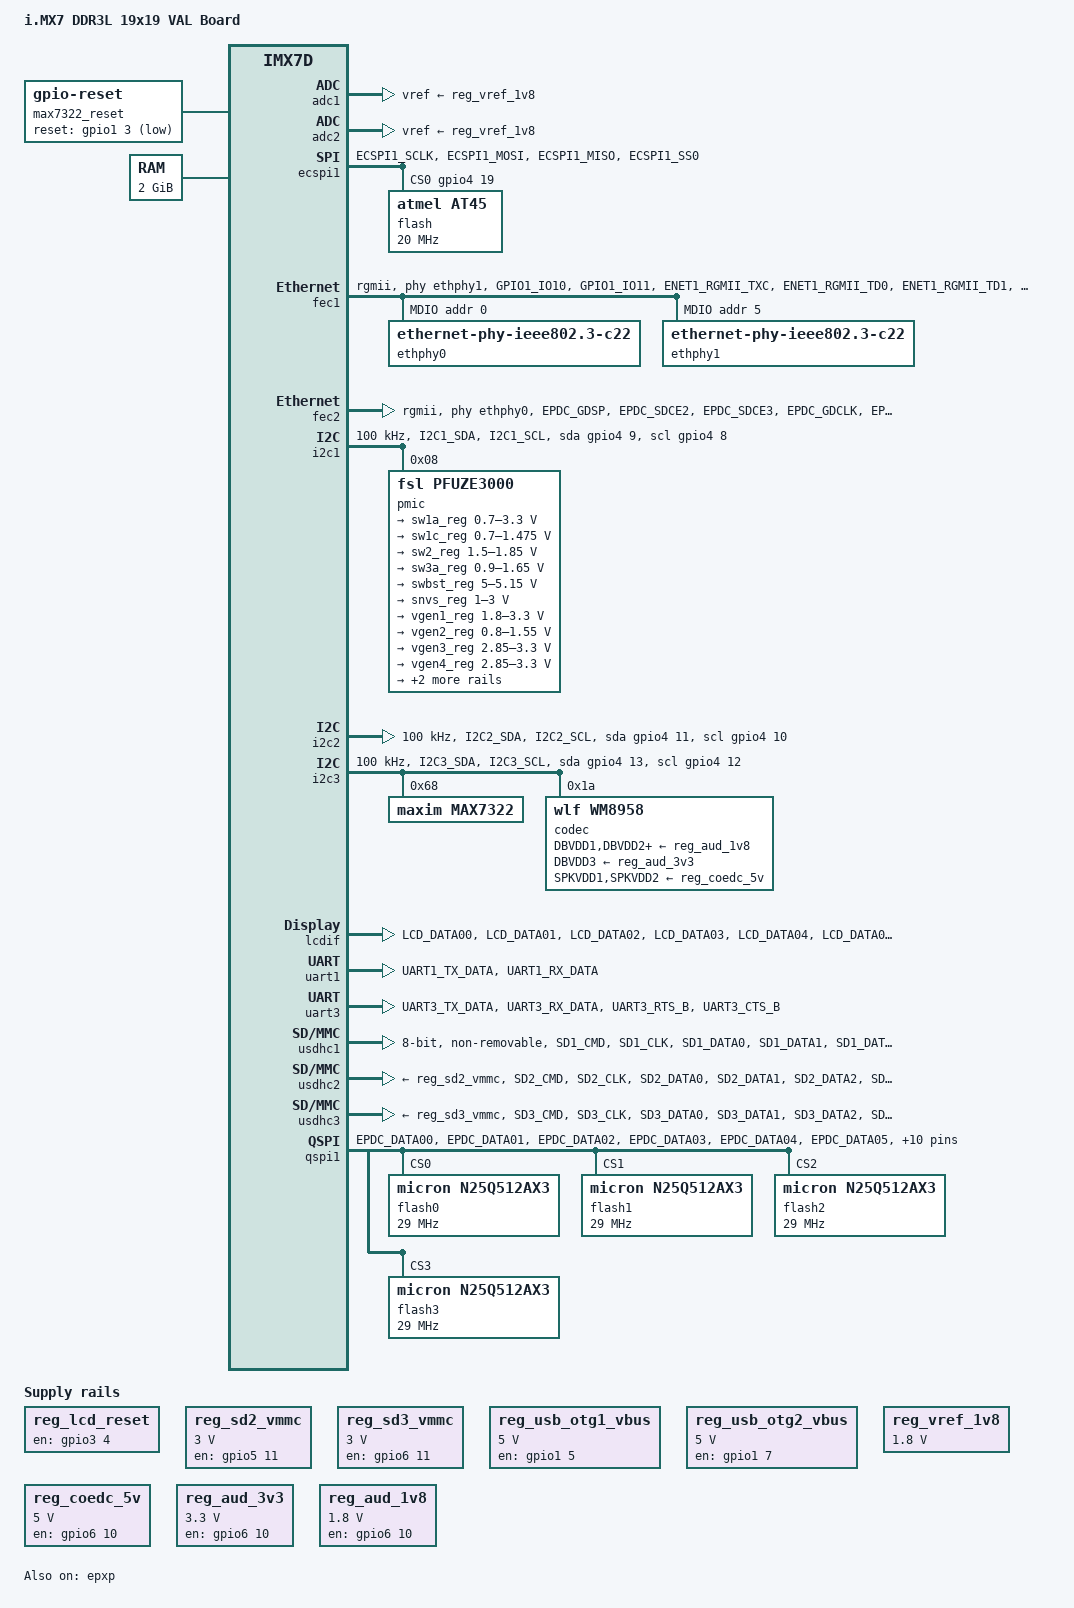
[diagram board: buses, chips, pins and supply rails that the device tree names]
/*
 * Copyright (C) 2015 Freescale Semiconductor, Inc.
 *
 * This program is free software; you can redistribute it and/or modify
 * it under the terms of the GNU General Public License version 2 as
 * published by the Free Software Foundation.
 */

/dts-v1/;

#include <dt-bindings/input/input.h>
#include "imx7d.dtsi"

/ {
	model = "i.MX7 DDR3L 19x19 VAL Board";
	compatible = "fsl,imx7d-19x19-ddr3-val", "fsl,imx7d";

	max7322_reset: max7322-reset {
		compatible = "gpio-reset";
		reset-gpios = <&gpio1 3 GPIO_ACTIVE_LOW>;
		reset-delay-us = <1>;
		#reset-cells = <0>;
	};

	gpio-keys {
		compatible = "gpio-keys";
		pinctrl-names = "default";
		pinctrl-0 = <&pinctrl_gpio_keys>;
		/* gpios disconnected see resistors R601, R583 */
		status = "disabled";

		volume-up {
			label = "Volume Up";
			gpios = <&gpio1 14 GPIO_ACTIVE_LOW>;
			linux,code = <KEY_VOLUMEUP>;
		};

		volume-down {
			label = "Volume Down";
			gpios = <&gpio1 15 GPIO_ACTIVE_LOW>;
			linux,code = <KEY_VOLUMEDOWN>;
		};
	};

	regulators {
		compatible = "simple-bus";
		#address-cells = <1>;
		#size-cells = <0>;

		reg_lcd_reset: lcd-reset {
			compatible = "regulator-fixed";
			regulator-name = "lcd-reset";
			gpio = <&gpio3 4 0>;
			enable-active-high;
		};

		reg_sd2_vmmc: sd2_vmmc{
			compatible = "regulator-fixed";
			regulator-name = "VCC_SD2";
			regulator-min-microvolt = <3000000>;
			regulator-max-microvolt = <3000000>;
			gpio = <&gpio5 11 GPIO_ACTIVE_HIGH>;
			enable-active-high;
		};

		reg_sd3_vmmc: sd3_vmmc {
			compatible = "regulator-fixed";
			regulator-name = "VCC_SD3";
			regulator-min-microvolt = <3000000>;
			regulator-max-microvolt = <3000000>;
			gpio = <&gpio6 11 GPIO_ACTIVE_HIGH>;
			enable-active-high;
		};

		reg_usb_otg1_vbus: regulator@0 {
			compatible = "regulator-fixed";
			reg = <0>;
			regulator-name = "usb_otg1_vbus";
			regulator-min-microvolt = <5000000>;
			regulator-max-microvolt = <5000000>;
			gpio = <&gpio1 5 GPIO_ACTIVE_HIGH>;
			enable-active-high;
		};

		reg_usb_otg2_vbus: regulator@1 {
			compatible = "regulator-fixed";
			reg = <1>;
			regulator-name = "usb_otg2_vbus";
			regulator-min-microvolt = <5000000>;
			regulator-max-microvolt = <5000000>;
			gpio = <&gpio1 7 GPIO_ACTIVE_HIGH>;
			enable-active-high;
		};

		reg_vref_1v8: regulator@2 {
			compatible = "regulator-fixed";
			regulator-name = "vref-1v8";
			regulator-min-microvolt = <1800000>;
			regulator-max-microvolt = <1800000>;
		};

		reg_coedc_5v: coedc_5v {
			compatible = "regulator-fixed";
			regulator-name = "CODEC_5V";
			regulator-min-microvolt = <5000000>;
			regulator-max-microvolt = <5000000>;
			gpio = <&gpio6 10 GPIO_ACTIVE_HIGH>;
			enable-active-high;
		};

		reg_aud_3v3: aud_3v3 {
			compatible = "regulator-fixed";
			regulator-name = "AUD_3V3";
			regulator-min-microvolt = <3300000>;
			regulator-max-microvolt = <3300000>;
			gpio = <&gpio6 10 GPIO_ACTIVE_HIGH>;
			enable-active-high;
		};

		reg_aud_1v8: aud_1v8 {
			compatible = "regulator-fixed";
			regulator-name = "AUD_1V8";
			regulator-min-microvolt = <1800000>;
			regulator-max-microvolt = <1800000>;
			gpio = <&gpio6 10 GPIO_ACTIVE_HIGH>;
			enable-active-high;
		};
	};

	pxp_v4l2_out {
		compatible = "fsl,imx7d-pxp-v4l2", "fsl,imx6sx-pxp-v4l2", "fsl,imx6sl-pxp-v4l2";
		status = "okay";
	};

	memory {
		reg = <0x80000000 0x80000000>;
	};
};

&adc1 {
	vref-supply = <&reg_vref_1v8>;
	status = "okay";
};

&adc2 {
	vref-supply = <&reg_vref_1v8>;
	status = "okay";
};

&cpu0 {
	cpu-supply = <&sw1a_reg>;
};

&ecspi1 {
	    fsl,spi-num-chipselects = <1>;
		cs-gpios = <&gpio4 19 0>;
		pinctrl-names = "default";
		pinctrl-0 = <&pinctrl_ecspi1_1 &pinctrl_ecspi1_cs_1>;
		status = "okay";

	    flash: at45@0 {
	        #address-cells = <1>;
	        #size-cells = <1>;
	        compatible = "atmel,at45", "jedec,spi-nor";
	        spi-max-frequency = <20000000>;
	        reg = <0>;
	    };
};

&epxp {
        status = "okay";
};

&fec1 {
	pinctrl-names = "default";
	pinctrl-0 = <&pinctrl_enet1>;
	pinctrl-assert-gpios = <&max7322 0 GPIO_ACTIVE_HIGH>;
	assigned-clocks = <&clks IMX7D_ENET1_TIME_ROOT_SRC>,
			  <&clks IMX7D_ENET1_TIME_ROOT_CLK>;
	assigned-clock-parents = <&clks IMX7D_PLL_ENET_MAIN_100M_CLK>;
	assigned-clock-rates = <0>, <100000000>;
	phy-mode = "rgmii";
	phy-handle = <&ethphy1>;
	fsl,magic-packet;
	status = "okay";

	mdio {
		#address-cells = <1>;
		#size-cells = <0>;

		ethphy0: ethernet-phy@0 {
			compatible = "ethernet-phy-ieee802.3-c22";
			reg = <0>;
		};

		ethphy1: ethernet-phy@5 {
			compatible = "ethernet-phy-ieee802.3-c22";
			reg = <5>;
		};
	};
};

&fec2 {
	pinctrl-names = "default";
	pinctrl-0 = <&pinctrl_enet2>;
	pinctrl-assert-gpios = <&max7322 0 GPIO_ACTIVE_HIGH>;
	assigned-clocks = <&clks IMX7D_ENET2_TIME_ROOT_SRC>,
			  <&clks IMX7D_ENET2_TIME_ROOT_CLK>;
	assigned-clock-parents = <&clks IMX7D_PLL_ENET_MAIN_100M_CLK>;
	assigned-clock-rates = <0>, <100000000>;
	phy-mode = "rgmii";
	phy-handle = <&ethphy0>;
	fsl,magic-packet;
	status = "okay";
};

&i2c1 {
	clock-frequency = <100000>;
	pinctrl-names = "default", "gpio";
	pinctrl-0 = <&pinctrl_i2c1_1>;
	pinctrl-1 = <&pinctrl_i2c1_1_gpio>;
	scl-gpios = <&gpio4 8 GPIO_ACTIVE_HIGH>;
	sda-gpios = <&gpio4 9 GPIO_ACTIVE_HIGH>;
	status = "okay";

	pmic: pfuze3000@8 {
		compatible = "fsl,pfuze3000";
		reg = <0x08>;

		regulators {
			sw1a_reg: sw1a {
				regulator-min-microvolt = <700000>;
				regulator-max-microvolt = <3300000>;
				regulator-boot-on;
				regulator-always-on;
				regulator-ramp-delay = <6250>;
			};
			/* use sw1c_reg to align with pfuze100/pfuze200 */
			sw1c_reg: sw1b {
				regulator-min-microvolt = <700000>;
				regulator-max-microvolt = <1475000>;
				regulator-boot-on;
				regulator-always-on;
				regulator-ramp-delay = <6250>;
			};

			sw2_reg: sw2 {
				regulator-min-microvolt = <1500000>;
				regulator-max-microvolt = <1850000>;
				regulator-boot-on;
				regulator-always-on;
			};

			sw3a_reg: sw3 {
				regulator-min-microvolt = <900000>;
				regulator-max-microvolt = <1650000>;
				regulator-boot-on;
				regulator-always-on;
			};

			swbst_reg: swbst {
				regulator-min-microvolt = <5000000>;
				regulator-max-microvolt = <5150000>;
			};

			snvs_reg: vsnvs {
				regulator-min-microvolt = <1000000>;
				regulator-max-microvolt = <3000000>;
				regulator-boot-on;
				regulator-always-on;
			};

			vref_reg: vrefddr {
				regulator-boot-on;
				regulator-always-on;
			};

			vgen1_reg: vldo1 {
				regulator-min-microvolt = <1800000>;
				regulator-max-microvolt = <3300000>;
				regulator-always-on;
			};

			vgen2_reg: vldo2 {
				regulator-min-microvolt = <800000>;
				regulator-max-microvolt = <1550000>;
			};

			vgen3_reg: vccsd {
				regulator-min-microvolt = <2850000>;
				regulator-max-microvolt = <3300000>;
				regulator-always-on;
			};

			vgen4_reg: v33 {
				regulator-min-microvolt = <2850000>;
				regulator-max-microvolt = <3300000>;
				regulator-always-on;
			};

			vgen5_reg: vldo3 {
				regulator-min-microvolt = <1800000>;
				regulator-max-microvolt = <3300000>;
				regulator-always-on;
			};

			vgen6_reg: vldo4 {
				regulator-min-microvolt = <1800000>;
				regulator-max-microvolt = <3300000>;
				regulator-always-on;
			};
		};
	};
};

&i2c2 {
	clock-frequency = <100000>;
	pinctrl-names = "default", "gpio";
	pinctrl-0 = <&pinctrl_i2c2_1>;
	pinctrl-1 = <&pinctrl_i2c2_1_gpio>;
	scl-gpios = <&gpio4 10 GPIO_ACTIVE_HIGH>;
	sda-gpios = <&gpio4 11 GPIO_ACTIVE_HIGH>;
	status = "okay";
};

&i2c3 {
	clock-frequency = <100000>;
	pinctrl-names = "default", "gpio";
	pinctrl-0 = <&pinctrl_i2c3_1>;
	pinctrl-1 = <&pinctrl_i2c3_1_gpio>;
	scl-gpios = <&gpio4 12 GPIO_ACTIVE_HIGH>;
	sda-gpios = <&gpio4 13 GPIO_ACTIVE_HIGH>;
	status = "okay";

	max7322: gpio@68 {
		compatible = "maxim,max7322";
		reg = <0x68>;
		gpio-controller;
		#gpio-cells = <2>;
		resets = <&max7322_reset>;
	};
	codec: wm8958@1a {
		compatible = "wlf,wm8958";
		reg = <0x1a>;
		clocks = <&clks IMX7D_AUDIO_MCLK_ROOT_CLK>,
		       <&clks IMX7D_CLK_DUMMY>;
		clock-names = "mclk1", "mclk2";

		DBVDD1-supply = <&reg_aud_1v8>;
		DBVDD2-supply = <&reg_aud_1v8>;
		DBVDD3-supply = <&reg_aud_3v3>;
		AVDD2-supply = <&reg_aud_1v8>;
		CPVDD-supply = <&reg_aud_1v8>;
		SPKVDD1-supply = <&reg_coedc_5v>;
		SPKVDD2-supply = <&reg_coedc_5v>;

		wlf,ldo1ena;
		wlf,ldo2ena;
	};
};

&iomuxc {
	pinctrl-names = "default";
	pinctrl-0 = <&pinctrl_hog_1 &pinctrl_hog_sd3_vselect>;

	imx7d-19x19-ddr3-val {
		pinctrl_hog_1: hoggrp-1 {
			fsl,pins = <
				MX7D_PAD_GPIO1_IO12__SD2_VSELECT   0x59
				MX7D_PAD_SD2_CD_B__GPIO5_IO9       0x59
				MX7D_PAD_SD2_WP__GPIO5_IO10        0x59
				MX7D_PAD_SD2_RESET_B__GPIO5_IO11   0x59
				MX7D_PAD_SD3_RESET_B__GPIO6_IO11   0x59
				MX7D_PAD_GPIO1_IO14__GPIO1_IO14    0x59
				MX7D_PAD_GPIO1_IO15__GPIO1_IO15    0x59
				MX7D_PAD_SD3_STROBE__GPIO6_IO10    0x59

				MX7D_PAD_I2C4_SCL__GPIO4_IO14	  0x7F
				MX7D_PAD_I2C4_SDA__GPIO4_IO15     0x7F
			>;
		};

		pinctrl_hog_sd3_vselect: hoggrp_sd3vselect {
			fsl,pins = <
				MX7D_PAD_GPIO1_IO13__SD3_VSELECT   0x59
			>;
		};

		pinctrl_csi: csigrp-1 {
			fsl,pins = <
				MX7D_PAD_LCD_DATA04__CSI_VSYNC 	0x0F
				MX7D_PAD_LCD_DATA05__CSI_HSYNC 	0x0F
				MX7D_PAD_LCD_DATA06__CSI_PIXCLK 0x0F
				MX7D_PAD_LCD_DATA07__CSI_MCLK 	0x0F
				MX7D_PAD_LCD_DATA08__CSI_DATA9 	0x0F
				MX7D_PAD_LCD_DATA09__CSI_DATA8 	0x0F
				MX7D_PAD_LCD_DATA10__CSI_DATA7 	0x0F
				MX7D_PAD_LCD_DATA11__CSI_DATA6 	0x0F
				MX7D_PAD_LCD_DATA12__CSI_DATA5 	0x0F
				MX7D_PAD_LCD_DATA13__CSI_DATA4 	0x0F
				MX7D_PAD_LCD_DATA14__CSI_DATA3 	0x0F
				MX7D_PAD_LCD_DATA15__CSI_DATA2 	0x0F
				MX7D_PAD_LCD_DATA02__GPIO3_IO7 	0x0F
				MX7D_PAD_LCD_DATA03__GPIO3_IO8 	0x0F
			>;
		};

		pinctrl_ecspi1_cs_1: ecspi1_cs_grp-1 {
			fsl,pins = <
				MX7D_PAD_ECSPI1_SS0__GPIO4_IO19 	0x2
			>;
		};

		pinctrl_ecspi1_1: ecspi1grp-1 {
			fsl,pins = <
				MX7D_PAD_ECSPI1_SCLK__ECSPI1_SCLK 	0x2
				MX7D_PAD_ECSPI1_MOSI__ECSPI1_MOSI 	0x2
				MX7D_PAD_ECSPI1_MISO__ECSPI1_MISO 	0x2
			>;
		};

		pinctrl_enet1: enet1grp {
			fsl,pins = <
				MX7D_PAD_GPIO1_IO10__ENET1_MDIO 0x3
				MX7D_PAD_GPIO1_IO11__ENET1_MDC  0x3
				MX7D_PAD_ENET1_RGMII_TXC__ENET1_RGMII_TXC 0x1
				MX7D_PAD_ENET1_RGMII_TD0__ENET1_RGMII_TD0 0x1
				MX7D_PAD_ENET1_RGMII_TD1__ENET1_RGMII_TD1 0x1
				MX7D_PAD_ENET1_RGMII_TD2__ENET1_RGMII_TD2 0x1
				MX7D_PAD_ENET1_RGMII_TD3__ENET1_RGMII_TD3 0x1
				MX7D_PAD_ENET1_RGMII_TX_CTL__ENET1_RGMII_TX_CTL 0x1
				MX7D_PAD_ENET1_RGMII_RXC__ENET1_RGMII_RXC 0x1
				MX7D_PAD_ENET1_RGMII_RD0__ENET1_RGMII_RD0 0x1
				MX7D_PAD_ENET1_RGMII_RD1__ENET1_RGMII_RD1 0x1
				MX7D_PAD_ENET1_RGMII_RD2__ENET1_RGMII_RD2 0x1
				MX7D_PAD_ENET1_RGMII_RD3__ENET1_RGMII_RD3 0x1
				MX7D_PAD_ENET1_RGMII_RX_CTL__ENET1_RGMII_RX_CTL 0x1
			>;
		};

		pinctrl_enet2: enet2grp {
			fsl,pins = <
				MX7D_PAD_EPDC_GDSP__ENET2_RGMII_TXC	0x1
				MX7D_PAD_EPDC_SDCE2__ENET2_RGMII_TD0	0x1
				MX7D_PAD_EPDC_SDCE3__ENET2_RGMII_TD1	0x1
				MX7D_PAD_EPDC_GDCLK__ENET2_RGMII_TD2	0x1
				MX7D_PAD_EPDC_GDOE__ENET2_RGMII_TD3	0x1
				MX7D_PAD_EPDC_GDRL__ENET2_RGMII_TX_CTL	0x1
				MX7D_PAD_EPDC_SDCE1__ENET2_RGMII_RXC	0x1
				MX7D_PAD_EPDC_SDCLK__ENET2_RGMII_RD0	0x1
				MX7D_PAD_EPDC_SDLE__ENET2_RGMII_RD1	0x1
				MX7D_PAD_EPDC_SDOE__ENET2_RGMII_RD2	0x1
				MX7D_PAD_EPDC_SDSHR__ENET2_RGMII_RD3	0x1
				MX7D_PAD_EPDC_SDCE0__ENET2_RGMII_RX_CTL	0x1
			>;
		};

		pinctrl_gpio_keys: gpio_keysgrp {
			fsl,pins = <
				MX7D_PAD_GPIO1_IO14__GPIO1_IO14 0x32
				MX7D_PAD_GPIO1_IO15__GPIO1_IO15 0x32
			>;
		};

		pinctrl_i2c1_1: i2c1grp-1 {
			fsl,pins = <
				MX7D_PAD_I2C1_SDA__I2C1_SDA          0x4000007f
				MX7D_PAD_I2C1_SCL__I2C1_SCL          0x4000007f
			>;
		};

		pinctrl_i2c1_1_gpio: i2c1grp-1-gpio {
			fsl,pins = <
				MX7D_PAD_I2C1_SDA__GPIO4_IO9          0x7f
				MX7D_PAD_I2C1_SCL__GPIO4_IO8          0x7f
			>;
		};

		pinctrl_i2c2_1: i2c2grp-1 {
			fsl,pins = <
				MX7D_PAD_I2C2_SDA__I2C2_SDA          0x4000007f
				MX7D_PAD_I2C2_SCL__I2C2_SCL          0x4000007f
			>;
		};

		pinctrl_i2c2_1_gpio: i2c2grp-1-gpio {
			fsl,pins = <
				MX7D_PAD_I2C2_SDA__GPIO4_IO11          0x7f
				MX7D_PAD_I2C2_SCL__GPIO4_IO10          0x7f
			>;
		};

		pinctrl_i2c3_1: i2c3grp-1 {
			fsl,pins = <
				MX7D_PAD_I2C3_SDA__I2C3_SDA	     0x4000007f
				MX7D_PAD_I2C3_SCL__I2C3_SCL          0x4000007f
			>;
		};

		pinctrl_i2c3_1_gpio: i2c3grp-1-gpio {
			fsl,pins = <
				MX7D_PAD_I2C3_SDA__GPIO4_IO13          0x7f
				MX7D_PAD_I2C3_SCL__GPIO4_IO12          0x7f
			>;
		};

		pinctrl_i2c4_1: i2c4grp-1 {
			fsl,pins = <
				MX7D_PAD_I2C4_SDA__I2C4_SDA          0x4000007f
				MX7D_PAD_I2C4_SCL__I2C4_SCL          0x4000007f
			>;
		};

		pinctrl_lcdif_dat: lcdifdatgrp {
			fsl,pins = <
				MX7D_PAD_LCD_DATA00__LCD_DATA0	0x79
				MX7D_PAD_LCD_DATA01__LCD_DATA1	0x79
				MX7D_PAD_LCD_DATA02__LCD_DATA2	0x79
				MX7D_PAD_LCD_DATA03__LCD_DATA3	0x79
				MX7D_PAD_LCD_DATA04__LCD_DATA4	0x79
				MX7D_PAD_LCD_DATA05__LCD_DATA5	0x79
				MX7D_PAD_LCD_DATA06__LCD_DATA6	0x79
				MX7D_PAD_LCD_DATA07__LCD_DATA7	0x79
				MX7D_PAD_LCD_DATA08__LCD_DATA8	0x79
				MX7D_PAD_LCD_DATA09__LCD_DATA9	0x79
				MX7D_PAD_LCD_DATA10__LCD_DATA10	0x79
				MX7D_PAD_LCD_DATA11__LCD_DATA11	0x79
				MX7D_PAD_LCD_DATA12__LCD_DATA12	0x79
				MX7D_PAD_LCD_DATA13__LCD_DATA13	0x79
				MX7D_PAD_LCD_DATA14__LCD_DATA14	0x79
				MX7D_PAD_LCD_DATA15__LCD_DATA15	0x79
				MX7D_PAD_LCD_DATA16__LCD_DATA16	0x79
				MX7D_PAD_LCD_DATA17__LCD_DATA17	0x79
				MX7D_PAD_LCD_DATA18__LCD_DATA18	0x79
				MX7D_PAD_LCD_DATA19__LCD_DATA19	0x79
				MX7D_PAD_LCD_DATA20__LCD_DATA20	0x79
				MX7D_PAD_LCD_DATA21__LCD_DATA21	0x79
				MX7D_PAD_LCD_DATA22__LCD_DATA22	0x79
				MX7D_PAD_LCD_DATA23__LCD_DATA23	0x79
			>;
		};

		pinctrl_lcdif_ctrl: lcdifctrlgrp {
			fsl,pins = <
				MX7D_PAD_LCD_CLK__LCD_CLK	0x79
				MX7D_PAD_LCD_ENABLE__LCD_ENABLE	0x79
				MX7D_PAD_LCD_VSYNC__LCD_VSYNC	0x79
				MX7D_PAD_LCD_HSYNC__LCD_HSYNC	0x79
			>;
		};

		pinctrl_sai1: sai1grp {
			fsl,pins = <
				MX7D_PAD_SAI1_MCLK__SAI1_MCLK           0x1f
				MX7D_PAD_SAI1_TX_BCLK__SAI1_TX_BCLK     0x1f
				MX7D_PAD_SAI1_TX_SYNC__SAI1_TX_SYNC     0x1f
				MX7D_PAD_SAI1_RX_SYNC__SAI1_RX_SYNC     0x1f
				MX7D_PAD_SAI1_RX_DATA__SAI1_RX_DATA0    0x1f
				MX7D_PAD_SAI1_TX_DATA__SAI1_TX_DATA0    0
			>;
		};

		pinctrl_sai2: sai2grp {
			fsl,pins = <
				MX7D_PAD_SAI1_MCLK__SAI1_MCLK           0x1f
				MX7D_PAD_SAI2_TX_BCLK__SAI2_TX_BCLK     0x1f
				MX7D_PAD_SAI2_TX_SYNC__SAI2_TX_SYNC     0x1f
				MX7D_PAD_SAI2_RX_DATA__SAI2_RX_DATA0    0x1f
				MX7D_PAD_SAI2_TX_DATA__SAI2_TX_DATA0    0
				MX7D_PAD_GPIO1_IO13__GPIO1_IO13		0x59
			>;
		};

		pinctrl_uart1_1: uart1grp-1 {
			fsl,pins = <
				MX7D_PAD_UART1_TX_DATA__UART1_DCE_TX 0x79
				MX7D_PAD_UART1_RX_DATA__UART1_DCE_RX 0x79
			>;
		};

		pinctrl_uart3_1: uart3grp-1 {
			fsl,pins = <
				MX7D_PAD_UART3_TX_DATA__UART3_DCE_TX	0x79
				MX7D_PAD_UART3_RX_DATA__UART3_DCE_RX	0x79
				MX7D_PAD_UART3_CTS_B__UART3_DCE_CTS	0x79
				MX7D_PAD_UART3_RTS_B__UART3_DCE_RTS	0x79
			>;
		};

		pinctrl_uart3dte_1: uart3dtegrp-1 {
			fsl,pins = <
				MX7D_PAD_UART3_TX_DATA__UART3_DTE_RX	0x79
				MX7D_PAD_UART3_RX_DATA__UART3_DTE_TX	0x79
				MX7D_PAD_UART3_RTS_B__UART3_DTE_CTS	0x79
				MX7D_PAD_UART3_CTS_B__UART3_DTE_RTS	0x79
			>;
		};

		pinctrl_usdhc1: usdhc1grp {
			fsl,pins = <
				MX7D_PAD_SD1_CMD__SD1_CMD       0x59
				MX7D_PAD_SD1_CLK__SD1_CLK       0x19
				MX7D_PAD_SD1_DATA0__SD1_DATA0   0x59
				MX7D_PAD_SD1_DATA1__SD1_DATA1   0x59
				MX7D_PAD_SD1_DATA2__SD1_DATA2   0x59
				MX7D_PAD_SD1_DATA3__SD1_DATA3   0x59
				MX7D_PAD_ECSPI2_SCLK__SD1_DATA4 0x59
				MX7D_PAD_ECSPI2_MOSI__SD1_DATA5 0x59
				MX7D_PAD_ECSPI2_MISO__SD1_DATA6 0x59
				MX7D_PAD_ECSPI2_SS0__SD1_DATA7  0x59
			>;
		};

		pinctrl_usdhc2: usdhc2grp {
			fsl,pins = <
				MX7D_PAD_SD2_CMD__SD2_CMD     0x59
				MX7D_PAD_SD2_CLK__SD2_CLK     0x19
				MX7D_PAD_SD2_DATA0__SD2_DATA0 0x59
				MX7D_PAD_SD2_DATA1__SD2_DATA1 0x59
				MX7D_PAD_SD2_DATA2__SD2_DATA2 0x59
				MX7D_PAD_SD2_DATA3__SD2_DATA3 0x59
			>;
		};

		pinctrl_usdhc2_100mhz: usdhc2grp_100mhz {
			fsl,pins = <
				MX7D_PAD_SD2_CMD__SD2_CMD     0x5a
				MX7D_PAD_SD2_CLK__SD2_CLK     0x1a
				MX7D_PAD_SD2_DATA0__SD2_DATA0 0x5a
				MX7D_PAD_SD2_DATA1__SD2_DATA1 0x5a
				MX7D_PAD_SD2_DATA2__SD2_DATA2 0x5a
				MX7D_PAD_SD2_DATA3__SD2_DATA3 0x5a
			>;
		};

		pinctrl_usdhc2_200mhz: usdhc2grp_200mhz {
			fsl,pins = <
				MX7D_PAD_SD2_CMD__SD2_CMD     0x5b
				MX7D_PAD_SD2_CLK__SD2_CLK     0x1b
				MX7D_PAD_SD2_DATA0__SD2_DATA0 0x5b
				MX7D_PAD_SD2_DATA1__SD2_DATA1 0x5b
				MX7D_PAD_SD2_DATA2__SD2_DATA2 0x5b
				MX7D_PAD_SD2_DATA3__SD2_DATA3 0x5b
			>;
		};

		pinctrl_usdhc3: usdhc3grp {
			fsl,pins = <
				MX7D_PAD_SD3_CMD__SD3_CMD     0x59
				MX7D_PAD_SD3_CLK__SD3_CLK     0x19
				MX7D_PAD_SD3_DATA0__SD3_DATA0 0x59
				MX7D_PAD_SD3_DATA1__SD3_DATA1 0x59
				MX7D_PAD_SD3_DATA2__SD3_DATA2 0x59
				MX7D_PAD_SD3_DATA3__SD3_DATA3 0x59
				MX7D_PAD_SD3_DATA4__SD3_DATA4 0x59
				MX7D_PAD_SD3_DATA5__SD3_DATA5 0x59
				MX7D_PAD_SD3_DATA6__SD3_DATA6 0x59
				MX7D_PAD_SD3_DATA7__SD3_DATA7 0x59
			>;
		};

		pinctrl_usdhc3_100mhz: usdhc3grp_100mhz {
			fsl,pins = <
				MX7D_PAD_SD3_CMD__SD3_CMD     0x5a
				MX7D_PAD_SD3_CLK__SD3_CLK     0x1a
				MX7D_PAD_SD3_DATA0__SD3_DATA0 0x5a
				MX7D_PAD_SD3_DATA1__SD3_DATA1 0x5a
				MX7D_PAD_SD3_DATA2__SD3_DATA2 0x5a
				MX7D_PAD_SD3_DATA3__SD3_DATA3 0x5a
				MX7D_PAD_SD3_DATA4__SD3_DATA4 0x5a
				MX7D_PAD_SD3_DATA5__SD3_DATA5 0x5a
				MX7D_PAD_SD3_DATA6__SD3_DATA6 0x5a
				MX7D_PAD_SD3_DATA7__SD3_DATA7 0x5a
			>;
		};

		pinctrl_usdhc3_200mhz: usdhc3grp_200mhz {
			fsl,pins = <
				MX7D_PAD_SD3_CMD__SD3_CMD     0x5b
				MX7D_PAD_SD3_CLK__SD3_CLK     0x1b
				MX7D_PAD_SD3_DATA0__SD3_DATA0 0x5b
				MX7D_PAD_SD3_DATA1__SD3_DATA1 0x5b
				MX7D_PAD_SD3_DATA2__SD3_DATA2 0x5b
				MX7D_PAD_SD3_DATA3__SD3_DATA3 0x5b
				MX7D_PAD_SD3_DATA4__SD3_DATA4 0x5b
				MX7D_PAD_SD3_DATA5__SD3_DATA5 0x5b
				MX7D_PAD_SD3_DATA6__SD3_DATA6 0x5b
				MX7D_PAD_SD3_DATA7__SD3_DATA7 0x5b
			>;
		};
		
		pinctrl_qspi1_1: qspi1grp_1 {
			fsl,pins = <
				MX7D_PAD_EPDC_DATA00__QSPI_A_DATA0 0x51
				MX7D_PAD_EPDC_DATA01__QSPI_A_DATA1 0x51
				MX7D_PAD_EPDC_DATA02__QSPI_A_DATA2 0x51
				MX7D_PAD_EPDC_DATA03__QSPI_A_DATA3 0x51
				MX7D_PAD_EPDC_DATA04__QSPI_A_DQS 0x51
				MX7D_PAD_EPDC_DATA05__QSPI_A_SCLK 0x51
				MX7D_PAD_EPDC_DATA06__QSPI_A_SS0_B 0x51
				MX7D_PAD_EPDC_DATA07__QSPI_A_SS1_B 0x51
				MX7D_PAD_EPDC_DATA08__QSPI_B_DATA0 0x51
				MX7D_PAD_EPDC_DATA09__QSPI_B_DATA1 0x51
				MX7D_PAD_EPDC_DATA10__QSPI_B_DATA2 0x51
				MX7D_PAD_EPDC_DATA11__QSPI_B_DATA3 0x51
				MX7D_PAD_EPDC_DATA12__QSPI_B_DQS 0x51
				MX7D_PAD_EPDC_DATA13__QSPI_B_SCLK 0x51
				MX7D_PAD_EPDC_DATA14__QSPI_B_SS0_B 0x51
				MX7D_PAD_EPDC_DATA15__QSPI_B_SS1_B 0x51
			>;
		};
	};
};

&iomuxc_lpsr {
	pinctrl-names = "default";
	pinctrl-0 = <&pinctrl_hog_2>;

	imx7d-19x19-ddr3-val {
		pinctrl_hog_2: hoggrp-2 {
			fsl,pins = <
				MX7D_PAD_LPSR_GPIO1_IO03__GPIO1_IO3 0x80000000
				MX7D_PAD_LPSR_GPIO1_IO07__GPIO1_IO7 0x80000000
			>;
		};

		pinctrl_mipi_csi: mipicsigrp-1 {
			fsl,pins = <
				MX7D_PAD_LPSR_GPIO1_IO01__ANATOP_24M_OUT 0x3
			>;
		};
	};
};

&lcdif {
	pinctrl-names = "default";
	pinctrl-0 = <&pinctrl_lcdif_dat
		     &pinctrl_lcdif_ctrl>;
	display = <&display0>;
	status = "okay";

	display0: display {
		bits-per-pixel = <16>;
		bus-width = <24>;

		display-timings {
			native-mode = <&timing0>;
			timing0: timing0 {
				clock-frequency = <33500000>;
				hactive = <800>;
				vactive = <480>;
				hback-porch = <89>;
				hfront-porch = <164>;
				vback-porch = <23>;
				vfront-porch = <10>;
				hsync-len = <10>;
				vsync-len = <10>;
				hsync-active = <0>;
				vsync-active = <0>;
				de-active = <1>;
				pixelclk-active = <0>;
			};
		};
	};
};

&sai1 {
	pinctrl-names = "default";
	pinctrl-0 = <&pinctrl_sai1>;
	status = "disabled";
};

&sai2 {
	pinctrl-names = "default";
	pinctrl-0 = <&pinctrl_sai2>;
	status = "disabled";
};

&sdma {
	status = "okay";
};

&uart1 {
	pinctrl-names = "default";
	pinctrl-0 = <&pinctrl_uart1_1>;
	assigned-clocks = <&clks IMX7D_UART1_ROOT_SRC>;
	assigned-clock-parents = <&clks IMX7D_OSC_24M_CLK>;
	status = "okay";
};

&uart3 {
	pinctrl-names = "default";
	pinctrl-0 = <&pinctrl_uart3_1>;
	fsl,uart-has-rtscts;
	assigned-clocks = <&clks IMX7D_UART3_ROOT_SRC>;
	assigned-clock-parents = <&clks IMX7D_PLL_SYS_MAIN_240M_CLK>;
	status = "okay";
	/* for DTE mode, add below change */
	/* fsl,dte-mode;*/
	pinctrl-0 = <&pinctrl_uart3dte_1>;
};

&usdhc1 {
	pinctrl-names = "default";
	pinctrl-0 = <&pinctrl_usdhc1>;
	bus-width = <8>;
	non-removable;
	status = "okay";
};

&usdhc2 {
	pinctrl-names = "default", "state_100mhz", "state_200mhz";
	pinctrl-0 = <&pinctrl_usdhc2>;
	pinctrl-1 = <&pinctrl_usdhc2_100mhz>;
	pinctrl-2 = <&pinctrl_usdhc2_200mhz>;
	cd-gpios = <&gpio5 9 GPIO_ACTIVE_LOW>;
	wp-gpios = <&gpio5 10 GPIO_ACTIVE_HIGH>;
	keep-power-in-suspend;
	enable-sdio-wakeup;
	tuning-step = <2>;
	vmmc-supply = <&reg_sd2_vmmc>;
	status = "okay";
};

&usdhc3 {
	pinctrl-names = "default", "state_100mhz", "state_200mhz";
	pinctrl-0 = <&pinctrl_usdhc3>;
	pinctrl-1 = <&pinctrl_usdhc3_100mhz>;
	pinctrl-2 = <&pinctrl_usdhc3_200mhz>;
	cd-gpios = <&gpio1 14 GPIO_ACTIVE_LOW>;
	wp-gpios = <&gpio1 15 GPIO_ACTIVE_HIGH>;
	keep-power-in-suspend;
	enable-sdio-wakeup;
	tuning-step = <2>;
	vmmc-supply = <&reg_sd3_vmmc>;
	status = "okay";
};

&qspi1 {
	pinctrl-names = "default", "sleep";
	pinctrl-0 = <&pinctrl_qspi1_1>;
	pinctrl-1 = <&pinctrl_qspi1_1>;
	status = "okay";
	fsl,qspi-has-second-chip = <1>;
	ddrsmp=<0>;

	flash0: n25q512ax3@0 {
		#address-cells = <1>;
		#size-cells = <1>;
		compatible = "micron,n25q512ax3", "jedec,spi-nor";
		spi-max-frequency = <29000000>;
		spi-nor,ddr-quad-read-dummy = <6>;
		reg = <0>;
	};

	flash1: n25q512ax3@1 {
		#address-cells = <1>;
		#size-cells = <1>;
		compatible = "micron,n25q512ax3", "jedec,spi-nor";
		spi-max-frequency = <29000000>;
		spi-nor,ddr-quad-read-dummy = <6>;
		reg = <1>;
	};

	flash2: n25q512ax3@2 {
		#address-cells = <1>;
		#size-cells = <1>;
		compatible = "micron,n25q512ax3", "jedec,spi-nor";
		spi-max-frequency = <29000000>;
		spi-nor,ddr-quad-read-dummy = <6>;
		reg = <2>;
	};

	flash3: n25q512ax3@3 {
		#address-cells = <1>;
		#size-cells = <1>;
		compatible = "micron,n25q512ax3", "jedec,spi-nor";
		spi-max-frequency = <29000000>;
		spi-nor,ddr-quad-read-dummy = <6>;
		reg = <3>;
	};
};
